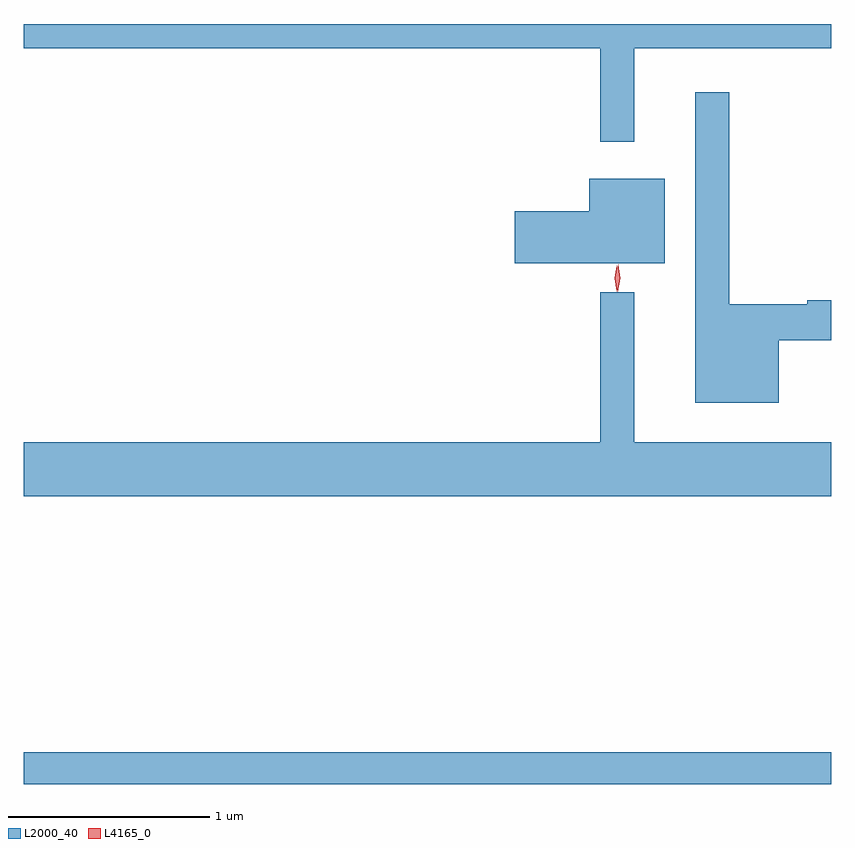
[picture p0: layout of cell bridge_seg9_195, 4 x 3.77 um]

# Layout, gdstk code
import gdstk
lib = gdstk.Library(unit=1e-6, precision=1e-09)
def R(c, l, rs):  # rectangles x0, y0, x1, y1
    for r in rs: c.add(gdstk.rectangle(r[:2], r[2:], *l))
def P(c, l, *ps):  # polygons
    for p in ps: c.add(gdstk.Polygon(p, *l))
L2000_40 = (2000, 40)
L4165_0 = (4165, 0)

bridge_seg9_195 = lib.new_cell('bridge_seg9_195')
R(bridge_seg9_195, L2000_40, [(1264.034,1983.731,1268.034,1983.889)])
P(bridge_seg9_195, L2000_40, [(1267.059,1987.376),(1268.034,1987.376),(1268.034,1987.497),(1264.034,1987.497),(1264.034,1987.376),(1266.891,1987.376),(1266.891,1986.913),(1267.059,1986.913)],
  [(1267.774,1985.931),(1268.034,1985.931),(1268.034,1986.129),(1267.916,1986.129),(1267.916,1986.109),(1267.529,1986.109),(1267.529,1987.158),(1267.361,1987.158),(1267.361,1985.621),(1267.774,1985.621)],
  [(1267.209,1986.729),(1266.836,1986.729),(1266.836,1986.569),(1266.466,1986.569),(1266.466,1986.311),(1267.209,1986.311)],
  [(1268.034,1985.424),(1267.059,1985.424),(1267.059,1986.168),(1266.891,1986.168),(1266.891,1985.424),(1264.034,1985.424),(1264.034,1985.156),(1268.034,1985.156)])
P(bridge_seg9_195, L4165_0, [(1266.972,1986.173),(1266.972,1986.173),(1266.962,1986.236),(1266.972,1986.299),(1266.972,1986.3),(1266.973,1986.299),(1266.982,1986.236),(1266.973,1986.173)],
  [(1266.976,1986.17),(1266.968,1986.238),(1266.978,1986.305),(1266.979,1986.306),(1266.979,1986.305),(1266.988,1986.238),(1266.977,1986.17),(1266.977,1986.17)])

lib.write_gds('bridge_seg9_195.gds')
